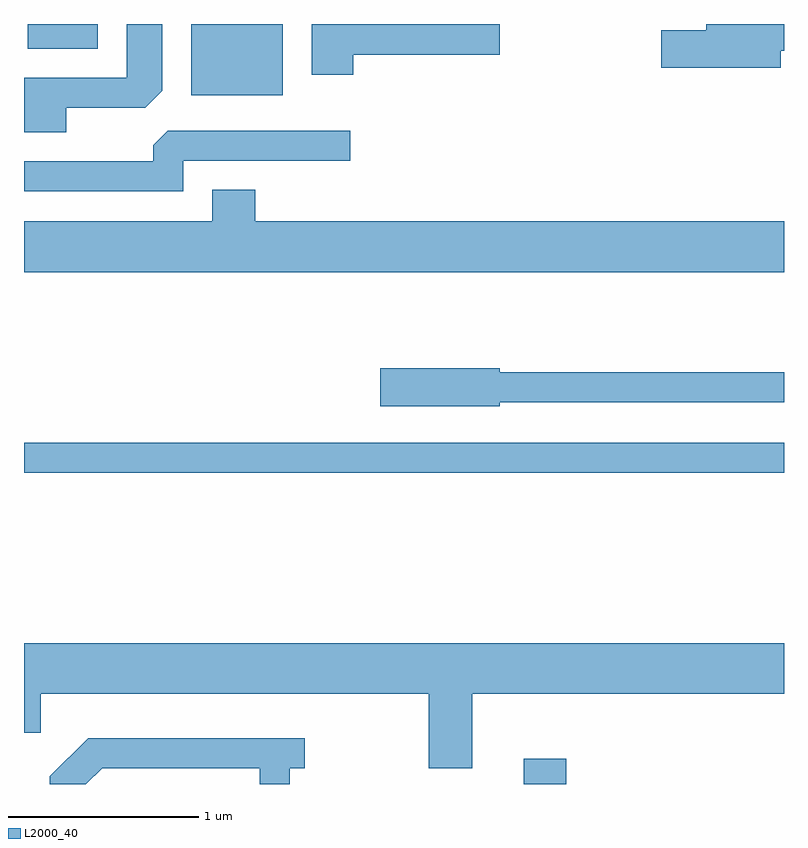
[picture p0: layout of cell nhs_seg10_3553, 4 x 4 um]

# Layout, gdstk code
import gdstk
lib = gdstk.Library(unit=1e-6, precision=1e-09)
def R(c, l, rs):  # rectangles x0, y0, x1, y1
    for r in rs: c.add(gdstk.rectangle(r[:2], r[2:], *l))
def P(c, l, *ps):  # polygons
    for p in ps: c.add(gdstk.Polygon(p, *l))
L2000_40 = (2000, 40)

nhs_seg10_3553 = lib.new_cell('nhs_seg10_3553')
R(nhs_seg10_3553, L2000_40, [(292.241,2144.522,292.464,2144.654), (289.611,2146.161,293.611,2146.319), (290.491,2148.146,290.974,2148.522), (289.631,2148.391,289.999,2148.522)])
P(nhs_seg10_3553, L2000_40, [(293.594,2148.381),(293.611,2148.381),(293.611,2148.522),(293.201,2148.522),(293.201,2148.489),(292.966,2148.489),(292.966,2148.291),(293.594,2148.291)],
  [(289.834,2148.081),(290.249,2148.081),(290.339,2148.172),(290.339,2148.522),(290.151,2148.522),(290.151,2148.239),(289.611,2148.239),(289.611,2147.951),(289.834,2147.951)],
  [(291.344,2148.361),(292.114,2148.361),(292.114,2148.522),(291.126,2148.522),(291.126,2148.256),(291.344,2148.256)],
  [(290.449,2147.801),(291.328,2147.801),(291.328,2147.959),(290.367,2147.959),(290.291,2147.884),(290.291,2147.799),(289.611,2147.799),(289.611,2147.641),(290.449,2147.641)],
  [(293.611,2147.484),(290.829,2147.484),(290.829,2147.649),(290.601,2147.649),(290.601,2147.484),(289.611,2147.484),(289.611,2147.216),(293.611,2147.216)],
  [(292.114,2146.531),(293.611,2146.531),(293.611,2146.689),(292.114,2146.689),(292.114,2146.709),(291.486,2146.709),(291.486,2146.511),(292.114,2146.511)],
  [(291.969,2144.996),(293.611,2144.996),(293.611,2145.264),(289.611,2145.264),(289.611,2144.791),(289.699,2144.791),(289.699,2144.996),(291.741,2144.996),(291.741,2144.606),(291.969,2144.606)],
  [(290.022,2144.606),(290.851,2144.606),(290.851,2144.522),(291.009,2144.522),(291.009,2144.606),(291.088,2144.606),(291.088,2144.764),(289.949,2144.764),(289.746,2144.562),(289.746,2144.522),(289.937,2144.522)])

lib.write_gds('nhs_seg10_3553.gds')
